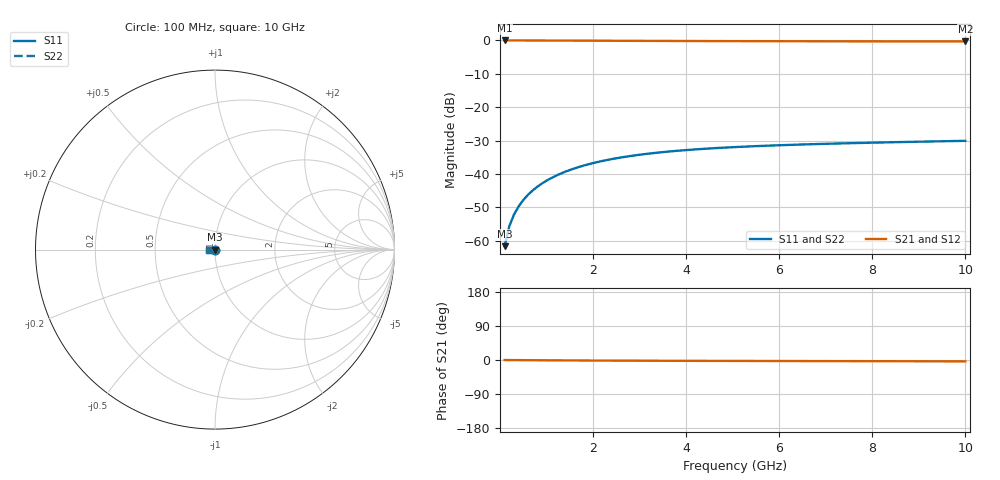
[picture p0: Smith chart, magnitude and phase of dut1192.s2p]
! Touchstone file exported from HFSS 2024.1.0
!  File:  C:/UserFiles/LocalFiles/RDL_TSV_Batchsim/temp_TSV1_1192_1780075776.aedt
!  Generated:  01:34:18 AM May 30, 2026
!  Design:  TSV1
!  Project:  temp_TSV1_1192_1780075776
!  Setup:  Setup1
!  Solution:  Sweep
! Variables:
!  dtsv = 9.62um
!  hbump = 3um
!  htsv = 53.02um
!  lrdl = 252.1521522um
!  p = 40
!  p1 = 45.13um
!  t = 500um
!  trdl = 3um
!  wrdl = 24.89489489um
# GHz S MA R 50.000000
! Terminal data exported
! Port[1] = TSV22_T1
! Port[2] = TSV22_T2
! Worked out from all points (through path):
!   100 points, 100 MHz to 10 GHz, reference 50 ohm
!   highest |S21| = 0.00 dB at 100 MHz (marker M1); lowest = -0.3 dB at 10 GHz (marker M2)
!   lowest |S11| = -61.7 dB at 100 MHz (marker M3), VSWR 1.00, Z = 50 - j0.0818 ohm
!   |S11| at or under -10 dB: start of sweep to end of sweep
!   |S22| runs from -61.7 to -30.1 dB; largest |S21 - S12| = 3.1e-15
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0.1  0.0008239 -83.0  0.9998 -0.1  0.9998 -0.1  0.0008239 -83.0
! Gamma 0 0 0 0
! Port Impedance 50 0 50 0
0.2  0.001632 -89.1  0.9998 -0.2  0.9998 -0.2  0.001632 -89.1
0.3  0.00244 -92.3  0.9996 -0.3  0.9996 -0.3  0.00244 -92.3
0.4  0.003244 -94.8  0.9994 -0.3  0.9994 -0.3  0.003244 -94.8
0.5  0.004042 -96.9  0.9992 -0.4  0.9992 -0.4  0.004042 -96.9
0.6  0.004833 -98.9  0.9989 -0.5  0.9989 -0.5  0.004833 -98.9
0.7  0.005616 -100.8  0.9986 -0.6  0.9986 -0.6  0.005616 -100.8
0.8  0.006388 -102.7  0.9982 -0.7  0.9982 -0.7  0.006388 -102.7
0.9  0.007148 -104.4  0.9978 -0.7  0.9978 -0.7  0.007148 -104.4
1.1  0.00863 -107.9  0.9969 -0.9  0.9969 -0.9  0.00863 -107.9
1.4  0.01074 -112.7  0.9954 -1.1  0.9954 -1.1  0.01074 -112.7
1.6  0.01206 -115.8  0.9943 -1.2  0.9943 -1.2  0.01206 -115.8
1.8  0.01331 -118.8  0.9931 -1.3  0.9931 -1.3  0.01331 -118.8
2.1  0.01506 -123.0  0.9913 -1.5  0.9913 -1.5  0.01506 -123.0
2.5  0.01713 -128.2  0.989 -1.7  0.989 -1.7  0.01713 -128.2
2.9  0.01893 -133.0  0.9867 -1.8  0.9867 -1.8  0.01893 -133.0
3.4  0.02084 -138.3  0.984 -2.0  0.984 -2.0  0.02084 -138.3
4.2  0.02326 -145.8  0.9802 -2.2  0.9802 -2.2  0.02326 -145.8
5.1  0.0253 -152.9  0.9768 -2.5  0.9768 -2.5  0.0253 -152.9
6.7  0.02783 -163.0  0.9724 -2.8  0.9724 -2.8  0.02783 -163.0
8.4  0.02975 -171.4  0.9694 -3.2  0.9694 -3.2  0.02975 -171.4
10  0.03127 -178.2  0.9673 -3.6  0.9673 -3.6  0.03127 -178.2
